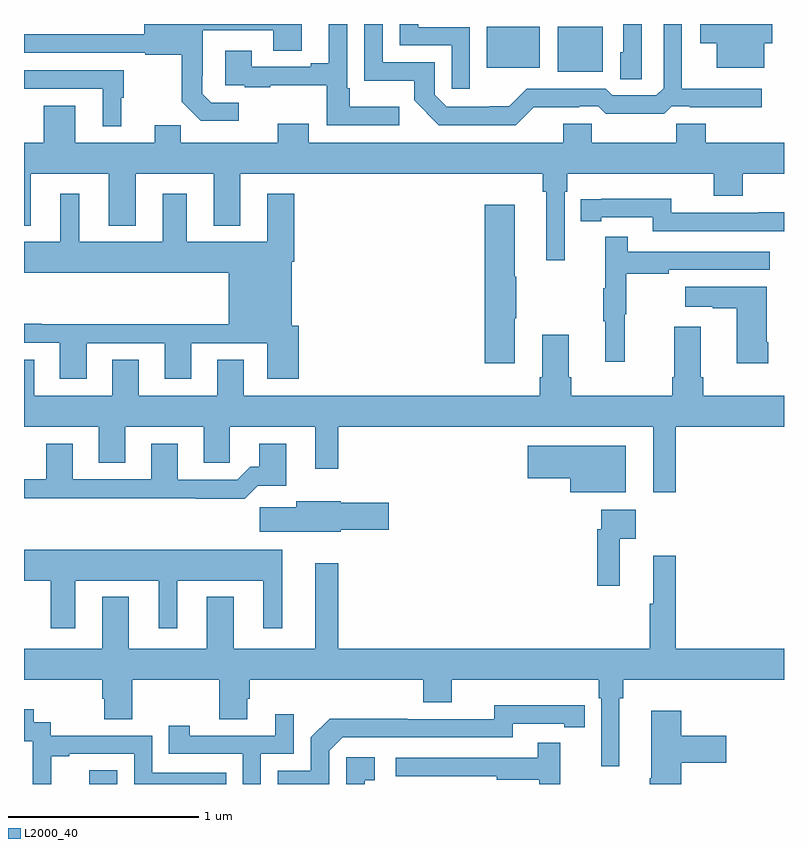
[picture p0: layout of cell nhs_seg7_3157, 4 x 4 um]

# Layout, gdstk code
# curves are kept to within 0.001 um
import gdstk
lib = gdstk.Library(unit=1e-6, precision=1e-09)
def R(c, l, rs):  # rectangles x0, y0, x1, y1
    for r in rs: c.add(gdstk.rectangle(r[:2], r[2:], *l))
def P(c, l, *ps):  # polygons
    for p in ps: c.add(gdstk.Polygon(p, *l))
L2000_40 = (2000, 40)

nhs_seg7_3157 = lib.new_cell('nhs_seg7_3157')
R(nhs_seg7_3157, L2000_40, [(311.343,1068,311.49,1068.073), (313.808,1071.749,314.047,1071.985), (313.436,1071.77,313.714,1071.985)])
P(nhs_seg7_3157, L2000_40, [(314.896,1071.899),(314.938,1071.899),(314.938,1072),(314.558,1072),(314.558,1071.899),(314.645,1071.899),(314.645,1071.77),(314.896,1071.77)],
  [(314.25,1072),(314.154,1072),(314.154,1071.852),(314.138,1071.852),(314.138,1071.709),(314.25,1071.709)],
  [(313.682,1071.563),(313.922,1071.563),(313.922,1071.567),(314.022,1071.567),(314.062,1071.528),(314.369,1071.528),(314.409,1071.567),(314.503,1071.567),(314.503,1071.563),(314.884,1071.563),(314.884,1071.66),(314.463,1071.66),(314.463,1072),(314.367,1072),(314.367,1071.663),(314.328,1071.624),(314.097,1071.624),(314.061,1071.66),(313.647,1071.66),(313.553,1071.566),(313.448,1071.566),(313.448,1071.564),(313.224,1071.564),(313.161,1071.627),(313.161,1071.798),(312.888,1071.798),(312.888,1072),(312.792,1072),(312.792,1071.701),(313.054,1071.701),(313.054,1071.599),(313.184,1071.468),(313.587,1071.468)],
  [(312.13,1071.585),(311.985,1071.585),(311.938,1071.632),(311.938,1071.727),(311.94,1071.727),(311.94,1071.968),(312.311,1071.968),(312.311,1071.859),(312.463,1071.859),(312.463,1072),(311.633,1072),(311.633,1071.945),(311,1071.946),(311,1071.849),(311.637,1071.849),(311.637,1071.837),(311.829,1071.837),(311.829,1071.591),(311.929,1071.491),(312.13,1071.491)],
  [(313.347,1071.984),(313.074,1071.984),(313.074,1072),(312.978,1072),(312.978,1071.888),(313.251,1071.888),(313.251,1071.66),(313.347,1071.66)],
  [(312.976,1071.565),(312.715,1071.565),(312.715,1071.661),(312.702,1071.661),(312.702,1072),(312.605,1072),(312.605,1071.793),(312.509,1071.793),(312.509,1071.774),(312.199,1071.774),(312.199,1071.859),(312.059,1071.859),(312.059,1071.678),(312.163,1071.678),(312.163,1071.666),(312.295,1071.666),(312.295,1071.677),(312.594,1071.677),(312.594,1071.468),(312.976,1071.468)],
  [(311.512,1071.612),(311.524,1071.612),(311.524,1071.756),(311,1071.756),(311,1071.66),(311.414,1071.66),(311.414,1071.461),(311.512,1071.461)],
  [(313.845,1071.116),(313.859,1071.116),(313.859,1071.212),(314.63,1071.212),(314.63,1071.095),(314.783,1071.095),(314.783,1071.212),(315,1071.212),(315,1071.376),(314.589,1071.376),(314.589,1071.474),(314.434,1071.474),(314.434,1071.376),(313.989,1071.376),(313.989,1071.474),(313.838,1071.474),(313.838,1071.376),(312.499,1071.376),(312.499,1071.475),(312.335,1071.475),(312.335,1071.376),(311.825,1071.376),(311.825,1071.467),(311.687,1071.467),(311.687,1071.376),(311.269,1071.376),(311.269,1071.571),(311.105,1071.571),(311.105,1071.376),(311,1071.376),(311,1070.939),(311.035,1070.939),(311.035,1071.212),(311.447,1071.212),(311.447,1070.939),(311.587,1070.939),(311.587,1071.212),(311.999,1071.212),(311.999,1070.939),(312.139,1070.939),(312.139,1071.212),(313.729,1071.212),(313.729,1071.116),(313.748,1071.116),(313.748,1070.757),(313.845,1070.757)],
  [(311.329,1070.319),(311.741,1070.319),(311.741,1070.133),(311.881,1070.133),(311.881,1070.319),(312.281,1070.319),(312.281,1070.133),(312.446,1070.133),(312.446,1070.412),(312.409,1070.412),(312.409,1070.75),(312.422,1070.75),(312.422,1071.106),(312.281,1071.106),(312.281,1070.854),(311.857,1070.854),(311.857,1071.106),(311.729,1071.106),(311.729,1070.854),(311.29,1070.854),(311.29,1071.106),(311.192,1071.106),(311.192,1070.854),(311,1070.854),(311,1070.69),(312.077,1070.69),(312.077,1070.42),(311.093,1070.42),(311.093,1070.423),(311,1070.423),(311,1070.322),(311.189,1070.322),(311.189,1070.133),(311.329,1070.133)],
  [(315,1071.008),(314.866,1071.008),(314.866,1071.006),(314.406,1071.006),(314.406,1071.079),(314.038,1071.079),(314.038,1071.078),(313.93,1071.078),(313.93,1070.962),(314.038,1070.962),(314.038,1070.982),(314.31,1070.982),(314.31,1070.91),(315,1070.91)],
  [(313.582,1070.452),(313.59,1070.452),(313.59,1070.669),(313.582,1070.669),(313.582,1071.049),(313.424,1071.049),(313.424,1070.214),(313.582,1070.214)],
  [(314.162,1070.472),(314.17,1070.472),(314.17,1070.686),(314.393,1070.686),(314.393,1070.706),(314.926,1070.706),(314.926,1070.802),(314.177,1070.802),(314.177,1070.881),(314.06,1070.881),(314.06,1070.609),(314.049,1070.609),(314.049,1070.435),(314.06,1070.435),(314.06,1070.223),(314.162,1070.223)],
  [(314.916,1070.326),(314.908,1070.326),(314.908,1070.617),(314.481,1070.617),(314.481,1070.513),(314.624,1070.513),(314.624,1070.503),(314.75,1070.503),(314.75,1070.214),(314.916,1070.214)],
  [(314.429,1069.88),(315,1069.88),(315,1070.044),(314.576,1070.044),(314.576,1070.14),(314.563,1070.14),(314.563,1070.407),(314.423,1070.407),(314.423,1070.14),(314.411,1070.14),(314.411,1070.044),(313.88,1070.044),(313.88,1070.14),(313.867,1070.14),(313.867,1070.365),(313.727,1070.365),(313.727,1070.14),(313.715,1070.14),(313.715,1070.044),(312.157,1070.044),(312.157,1070.234),(312.017,1070.234),(312.017,1070.044),(311.605,1070.044),(311.605,1070.234),(311.465,1070.234),(311.465,1070.044),(311.053,1070.044),(311.053,1070.234),(311,1070.234),(311,1069.88),(311.393,1069.88),(311.393,1069.69),(311.533,1069.69),(311.533,1069.88),(311.945,1069.88),(311.945,1069.69),(312.084,1069.69),(312.084,1069.88),(312.533,1069.88),(312.533,1069.659),(312.655,1069.659),(312.655,1069.88),(314.312,1069.88),(314.312,1069.536),(314.429,1069.536)],
  [(312.23,1069.571),(312.379,1069.571),(312.379,1069.792),(312.239,1069.792),(312.239,1069.669),(312.19,1069.669),(312.123,1069.602),(311.809,1069.602),(311.809,1069.792),(311.669,1069.792),(311.669,1069.605),(311.257,1069.605),(311.257,1069.792),(311.117,1069.792),(311.117,1069.605),(311,1069.605),(311,1069.504),(311.905,1069.504),(311.905,1069.502),(312.161,1069.502)],
  [(314.167,1069.78),(313.65,1069.78),(313.65,1069.61),(313.874,1069.61),(313.874,1069.535),(314.167,1069.535)],
  [(312.666,1069.337),(312.919,1069.337),(312.919,1069.479),(312.666,1069.479),(312.666,1069.489),(312.434,1069.489),(312.434,1069.457),(312.24,1069.457),(312.24,1069.328),(312.666,1069.328)],
  [(314.135,1069.292),(314.221,1069.292),(314.221,1069.444),(314.037,1069.444),(314.037,1069.34),(314.017,1069.34),(314.017,1069.044),(314.135,1069.044)],
  [(311.269,1069.07),(311.708,1069.07),(311.708,1068.819),(311.806,1068.819),(311.806,1069.07),(312.26,1069.07),(312.26,1068.819),(312.358,1068.819),(312.358,1069.234),(311,1069.234),(311,1069.07),(311.141,1069.07),(311.141,1068.819),(311.269,1068.819)],
  [(314.134,1068.452),(314.153,1068.452),(314.153,1068.548),(315,1068.548),(315,1068.712),(314.429,1068.712),(314.429,1069.201),(314.312,1069.201),(314.312,1068.948),(314.293,1068.948),(314.293,1068.712),(312.655,1068.712),(312.655,1069.162),(312.533,1069.162),(312.533,1068.712),(312.103,1068.712),(312.103,1068.985),(311.963,1068.985),(311.963,1068.712),(311.551,1068.712),(311.551,1068.985),(311.411,1068.985),(311.411,1068.712),(311,1068.712),(311,1068.548),(311.411,1068.548),(311.411,1068.45),(311.423,1068.45),(311.423,1068.34),(311.571,1068.34),(311.571,1068.548),(312.028,1068.548),(312.028,1068.34),(312.175,1068.34),(312.175,1068.45),(312.188,1068.45),(312.188,1068.548),(313.1,1068.548),(313.1,1068.431),(313.252,1068.431),(313.252,1068.548),(314.024,1068.548),(314.024,1068.452),(314.037,1068.452),(314.037,1068.093),(314.134,1068.093)],
  [(312.606,1068.174),(312.678,1068.246),(313.572,1068.246),(313.572,1068.318),(313.844,1068.318),(313.844,1068.298),(313.952,1068.298),(313.952,1068.414),(313.476,1068.415),(313.476,1068.342),(313.016,1068.342),(313.016,1068.344),(312.608,1068.344),(312.51,1068.246),(312.51,1068.069),(312.336,1068.069),(312.336,1068),(312.606,1068)],
  [(311.144,1068.147),(311.239,1068.147),(311.239,1068.159),(311.58,1068.159),(311.58,1068),(312.065,1068),(312.065,1068.06),(311.676,1068.06),(311.676,1068.255),(311.142,1068.255),(311.142,1068.324),(311.05,1068.324),(311.05,1068.394),(311,1068.394),(311,1068.225),(311.046,1068.225),(311.046,1068),(311.144,1068)],
  [(314.459,1068.113),(314.695,1068.113),(314.695,1068.255),(314.459,1068.255),(314.459,1068.385),(314.3,1068.385),(314.3,1068.029),(314.293,1068.029),(314.293,1068),(314.459,1068)],
  [(312.246,1068.159),(312.42,1068.159),(312.42,1068.367),(312.323,1068.367),(312.323,1068.255),(311.872,1068.255),(311.872,1068.307),(311.761,1068.307),(311.761,1068.159),(312.15,1068.159),(312.15,1068),(312.246,1068)],
  [(313.823,1068.217),(313.705,1068.217),(313.705,1068.138),(312.957,1068.138),(312.957,1068.042),(313.489,1068.042),(313.489,1068.022),(313.713,1068.022),(313.713,1068),(313.823,1068)],
  [(312.794,1068.021),(312.847,1068.021),(312.847,1068.142),(312.696,1068.142),(312.696,1068),(312.794,1068)])

lib.write_gds('nhs_seg7_3157.gds')
